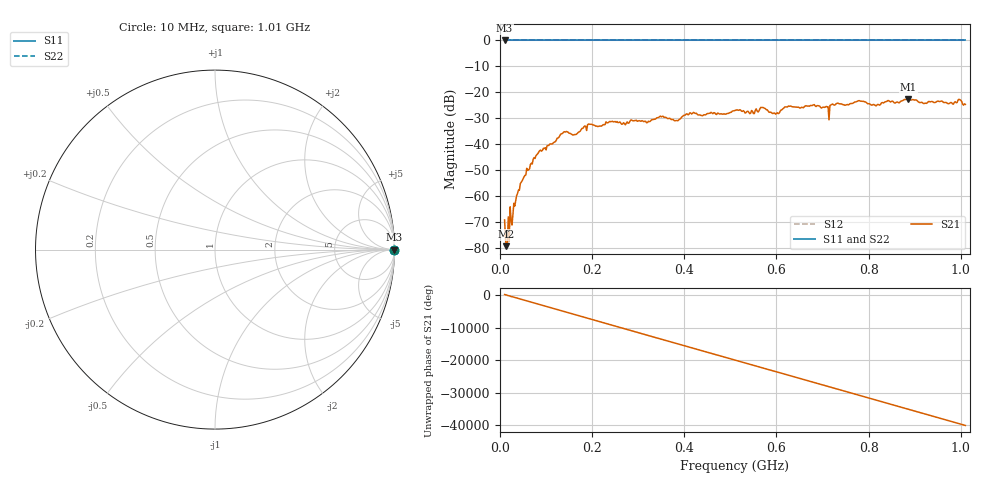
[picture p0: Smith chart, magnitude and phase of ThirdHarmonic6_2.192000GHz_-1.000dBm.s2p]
! 8/17/2025 2:08:13 AM
! C:\ANRITSUVNA\TEMP\TEMP.S2P
! CHANNEL.1
! TR.MEASUREMENT
! RAW.DATA
! RF.CORRECTION.OFF
! AVERAGING.OFF
! IF.BANDWIDTH: 5KHZ
! SWEEPTYPE:  FREQ.SWEEP(Linear)
! Reference Plane Port Info
! PORT:  PORT1  PORT2
! DISTANCE:  0  m  0  m
! TIME:  0  s  0  s
! PHASE.OFFSET:  0  deg.  0  deg.
! LOSS:  0  dB  0  dB
! REF.LOSS:  0  dB  0  dB
! REF.FREQ:  0  Hz  0  Hz
! Power Info
! POWER:  -20  dBm  -20  dBm
! EFF.POWER:  -20  dBm  -20  dBm
! SOURCE.ATTEN:  0  dB  0  dB
! TEST.ATTEN:  0  dB  0  dB
# GHZ S RI R 50.0
! FREQ.GHZ  S11RE  S11IM  S21RE  S21IM  S12RE  S12IM  S22RE  S22IM
!; PortSelection: Port_12
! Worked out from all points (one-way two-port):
!   501 points, 10 MHz to 1.01 GHz, reference 50 ohm
!   highest |S21| = -22.50 dB at 886 MHz (marker M1); lowest = -79.2 dB at 14 MHz (marker M2)
!   lowest |S11| = 0.0 dB at 10 MHz (marker M3)
!   |S11| at or under -10 dB: nowhere
!   |S22| runs from 0.0 to 0.0 dB; largest |S21 - S12| = 1.1
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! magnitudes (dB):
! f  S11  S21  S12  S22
! 10 MHz  0.0  -69.1  0.0  0.0
! 14 MHz  0.0  -79.2  0.0  0.0
! 16 MHz  0.0  -78.1  0.0  0.0
! 26 MHz  0.0  -71.1  0.0  0.0
! 48 MHz  0.0  -54.0  0.0  0.0
! 76 MHz  0.0  -45.5  0.0  0.0
! 136 MHz  0.0  -35.8  0.0  0.0
! 162 MHz  0.0  -36.2  0.0  0.0
! 178 MHz  0.0  -33.9  0.0  0.0
! 344 MHz  0.0  -29.7  0.0  0.0
! 382 MHz  0.0  -30.8  0.0  0.0
! 416 MHz  0.0  -28.3  0.0  0.0
! 510 MHz  0.0  -27.0  0.0  0.0
! 570 MHz  0.0  -25.8  0.0  0.0
! 602 MHz  0.0  -27.9  0.0  0.0
! 622 MHz  0.0  -25.6  0.0  0.0
! 678 MHz  0.0  -25.0  0.0  0.0
! 710 MHz  0.0  -25.5  0.0  0.0
! 734 MHz  0.0  -24.2  0.0  0.0
! 844 MHz  0.0  -23.2  0.0  0.0
! 886 MHz  0.0  -22.5  0.0  0.0
! 1.01 GHz  0.0  -24.6  0.0  0.0
